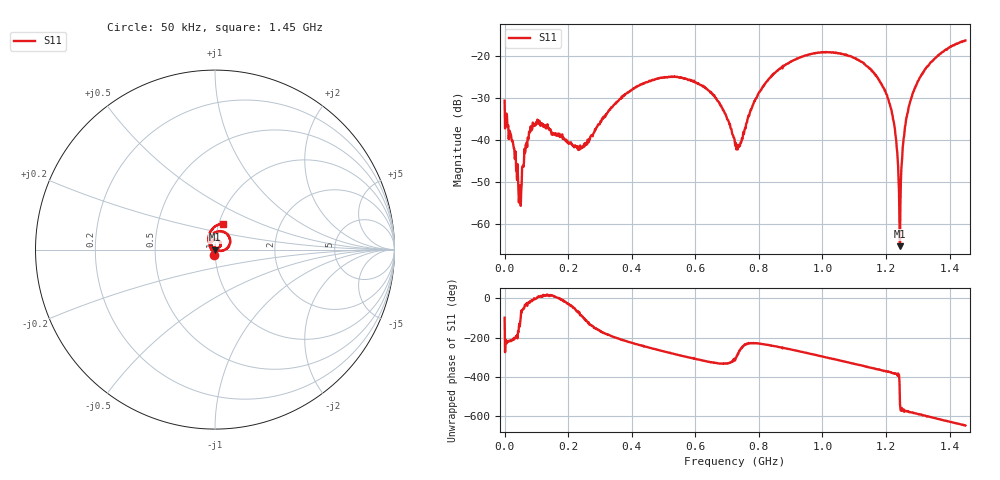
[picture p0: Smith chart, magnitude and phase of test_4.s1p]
! Created with skrf 1.11.0 (http://scikit-rf.org).
# Hz S RI R 50.0
!freq ReS11 ImS11
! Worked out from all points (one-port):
!   1001 points, 50 kHz to 1.45 GHz, reference 50 ohm
!   lowest |S11| = -65.3 dB at 1.244 GHz (marker M1), VSWR 1.00, Z = 49.9 - j0.004 ohm
!   |S11| at or under -10 dB: start of sweep to end of sweep
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50000  -0.00427 -0.029
2.759905e7  -0.00759 0.00379
4.64484e7  -0.00136 -0.00177
5.22482e7  0.00113 -0.00213
6.96476e7  0.00856 -0.00364
8.849695e7  0.0159 -0.00217
1.812938e8  0.0115 -0.00127
2.407417e8  0.00073 -0.00814
3.625375e8  -0.0273 0.0135
5.437812e8  0.0166 0.0539
6.568774e8  0.0286 0.0187
7.25025e8  0.00652 0.00615
7.409744e8  -0.000959 0.0085
7.786732e8  -0.0162 0.018
8.163718e8  -0.0263 0.0357
9.062688e8  -0.0121 0.0866
1.087512e9  0.0847 0.0517
1.15421e9  0.0668 0.00724
1.200609e9  0.0346 -0.00707
1.225258e9  0.0146 -0.00611
1.232508e9  0.00885 -0.00396
1.238307e9  0.00445 -0.00185
1.244107e9  -0.000539 -4e-05
1.249907e9  -0.00496 0.00166
1.257157e9  -0.00867 0.00683
1.268756e9  -0.0171 0.0123
1.328204e9  -0.0341 0.0653
1.45e9  0.0466 0.1454
